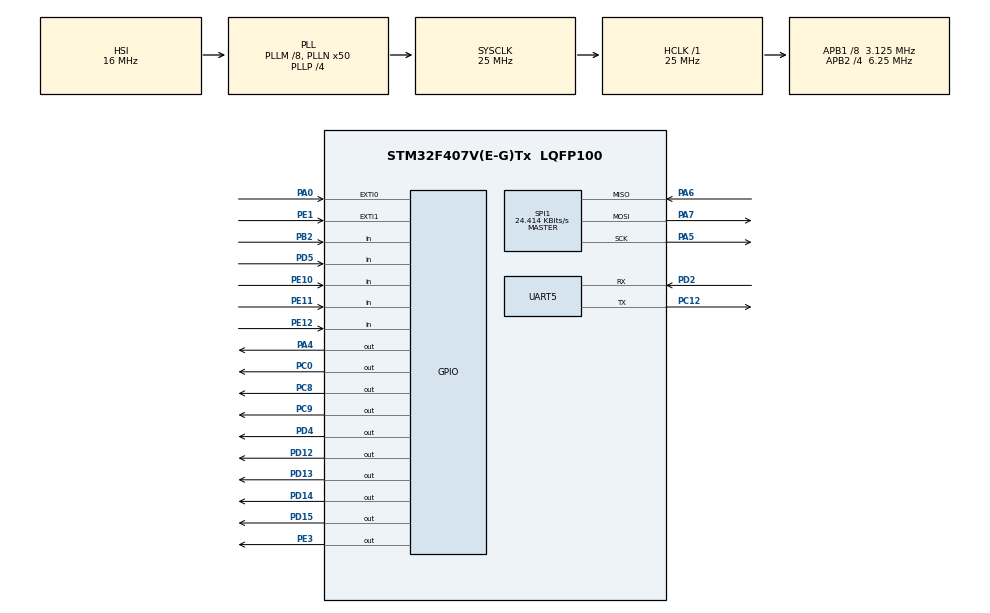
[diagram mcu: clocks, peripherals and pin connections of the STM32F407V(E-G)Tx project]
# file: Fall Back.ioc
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Mcu.Family=STM32F4
Mcu.Name=STM32F407V(E-G)Tx
Mcu.Package=LQFP100
NVIC.PriorityGroup=NVIC_PRIORITYGROUP_0
NVIC.TIM3_IRQn=true\:0\:0\:false\:false\:true\:true
PA0-WKUP.GPIO_ModeDefaultEXTI=GPIO_MODE_IT_RISING
PA0-WKUP.GPIO_PuPd=GPIO_NOPULL
PA0-WKUP.Signal=GPXTI0
PA10.GPIO_Mode=GPIO_MODE_AF_PP
PA10.GPIO_PuPd=GPIO_NOPULL
PA10.GPIO_Speed=GPIO_SPEED_FREQ_VERY_HIGH
PA10.Signal=USB_OTG_FS_ID
PA11.GPIO_Mode=GPIO_MODE_AF_PP
PA11.GPIO_PuPd=GPIO_NOPULL
PA11.GPIO_Speed=GPIO_SPEED_FREQ_VERY_HIGH
PA11.Signal=USB_OTG_FS_DM
PA12.GPIO_Mode=GPIO_MODE_AF_PP
PA12.GPIO_PuPd=GPIO_NOPULL
PA12.GPIO_Speed=GPIO_SPEED_FREQ_VERY_HIGH
PA12.Signal=USB_OTG_FS_DP
PA13.Signal=SYS_JTMS-SWDIO
PA14.Signal=SYS_JTCK-SWCLK
PA4.GPIO_Speed=GPIO_SPEED_FREQ_HIGH
PA4.Signal=GPIO_Output
PA5.GPIO_Mode=GPIO_MODE_AF_PP
PA5.GPIO_PuPd=GPIO_NOPULL
PA5.GPIO_Speed=GPIO_SPEED_FREQ_HIGH
PA5.Mode=Full_Duplex_Master
PA5.Signal=SPI1_SCK
PA6.GPIO_Mode=GPIO_MODE_AF_PP
PA6.GPIO_PuPd=GPIO_NOPULL
PA6.GPIO_Speed=GPIO_SPEED_FREQ_HIGH
PA6.Mode=Full_Duplex_Master
PA6.Signal=SPI1_MISO
PA7.GPIO_Mode=GPIO_MODE_AF_PP
PA7.GPIO_PuPd=GPIO_NOPULL
PA7.GPIO_Speed=GPIO_SPEED_FREQ_HIGH
PA7.Mode=Full_Duplex_Master
PA7.Signal=SPI1_MOSI
PA9.GPIO_Mode=GPIO_MODE_INPUT
PA9.GPIO_PuPd=GPIO_NOPULL
PA9.Signal=USB_OTG_FS_VBUS
PB10.GPIO_Mode=GPIO_MODE_AF_PP
PB10.GPIO_PuPd=GPIO_NOPULL
PB10.GPIO_Speed=GPIO_SPEED_FREQ_LOW
PB10.Signal=I2S2_CK
PB2.GPIO_Mode=GPIO_MODE_INPUT
PB2.GPIO_PuPd=GPIO_NOPULL
PB2.Signal=GPIO_Input
PB3.Signal=SYS_JTDO-SWO
PC0.GPIO_ModeDefaultOutputPP=GPIO_MODE_OUTPUT_PP
PC0.GPIO_PuPd=GPIO_NOPULL
PC0.GPIO_Speed=GPIO_SPEED_FREQ_LOW
PC0.PinState=GPIO_PIN_RESET
PC0.Signal=GPIO_Output
PC10.GPIO_Mode=GPIO_MODE_AF_PP
PC10.GPIO_PuPd=GPIO_NOPULL
PC10.GPIO_Speed=GPIO_SPEED_FREQ_LOW
PC10.Signal=I2S3_CK
PC12.Mode=Asynchronous
PC12.Signal=UART5_TX
PC14-OSC32_IN.Signal=RCC_OSC32_IN
PC15-OSC32_OUT.Signal=RCC_OSC32_OUT
PC3.GPIO_Mode=GPIO_MODE_AF_PP
PC3.GPIO_PuPd=GPIO_NOPULL
PC3.GPIO_Speed=GPIO_SPEED_FREQ_LOW
PC3.Signal=I2S2_SD
PC7.GPIO_Mode=GPIO_MODE_AF_PP
PC7.GPIO_PuPd=GPIO_NOPULL
PC7.GPIO_Speed=GPIO_SPEED_FREQ_LOW
PC7.Signal=I2S3_MCK
PC8.GPIO_Speed=GPIO_SPEED_FREQ_VERY_HIGH
PC8.Signal=GPIO_Output
PC9.GPIO_Speed=GPIO_SPEED_FREQ_VERY_HIGH
PC9.Signal=GPIO_Output
PD12.Signal=GPIO_Output
PD13.GPIO_ModeDefaultOutputPP=GPIO_MODE_OUTPUT_PP
PD13.GPIO_PuPd=GPIO_NOPULL
PD13.GPIO_Speed=GPIO_SPEED_FREQ_LOW
PD13.PinState=GPIO_PIN_RESET
PD13.Signal=GPIO_Output
PD14.GPIO_ModeDefaultOutputPP=GPIO_MODE_OUTPUT_PP
PD14.GPIO_PuPd=GPIO_NOPULL
PD14.GPIO_Speed=GPIO_SPEED_FREQ_LOW
PD14.PinState=GPIO_PIN_RESET
PD14.Signal=GPIO_Output
PD15.GPIO_ModeDefaultOutputPP=GPIO_MODE_OUTPUT_PP
PD15.GPIO_PuPd=GPIO_NOPULL
PD15.GPIO_Speed=GPIO_SPEED_FREQ_LOW
PD15.PinState=GPIO_PIN_RESET
PD15.Signal=GPIO_Output
PD2.Mode=Asynchronous
PD2.Signal=UART5_RX
PD4.GPIO_ModeDefaultOutputPP=GPIO_MODE_OUTPUT_PP
PD4.GPIO_PuPd=GPIO_NOPULL
PD4.GPIO_Speed=GPIO_SPEED_FREQ_LOW
PD4.PinState=GPIO_PIN_RESET
PD4.Signal=GPIO_Output
PD5.GPIO_Mode=GPIO_MODE_INPUT
PD5.GPIO_PuPd=GPIO_NOPULL
PD5.Signal=GPIO_Input
PE1.GPIO_ModeDefaultEXTI=GPIO_MODE_IT_RISING
PE1.GPIO_PuPd=GPIO_NOPULL
PE1.Signal=GPXTI1
PE10.Signal=GPIO_Input
PE11.Signal=GPIO_Input
PE12.Signal=GPIO_Input
PE3.GPIO_ModeDefaultOutputPP=GPIO_MODE_OUTPUT_PP
PE3.GPIO_PuPd=GPIO_NOPULL
PE3.GPIO_Speed=GPIO_SPEED_FREQ_LOW
PE3.PinState=GPIO_PIN_RESET
PE3.Signal=GPIO_Output
PH0-OSC_IN.Signal=RCC_OSC_IN
PH1-OSC_OUT.Signal=RCC_OSC_OUT
ProjectManager.HeapSize=0x200
ProjectManager.StackSize=0x400
ProjectManager.TargetToolchain=TrueSTUDIO
RCC.48MHZClocksFreq_Value=14285714.285714285
RCC.AHBFreq_Value=25000000
RCC.APB1CLKDivider=RCC_HCLK_DIV8
RCC.APB1Freq_Value=3125000
RCC.APB1TimFreq_Value=6250000
RCC.APB2CLKDivider=RCC_HCLK_DIV4
RCC.APB2Freq_Value=6250000
RCC.APB2TimFreq_Value=12500000
RCC.CortexFreq_Value=25000000
RCC.HCLKFreq_Value=25000000
RCC.HSE_VALUE=8000000
RCC.HSI_VALUE=16000000
RCC.LSE_VALUE=32768
RCC.PLLM=8
RCC.PLLN=50
RCC.PLLP=RCC_PLLP_DIV4
RCC.PLLQ=7
RCC.SYSCLKFreq_VALUE=25000000
RCC.SYSCLKSource=RCC_SYSCLKSOURCE_PLLCLK
RCC.VCOOutputFreq_Value=100000000
SPI1.BaudRatePrescaler=SPI_BAUDRATEPRESCALER_256
SPI1.CLKPhase=SPI_PHASE_1EDGE
SPI1.CLKPolarity=SPI_POLARITY_LOW
SPI1.CalculateBaudRate=24.414 KBits/s
SPI1.DataSize=SPI_DATASIZE_8BIT
SPI1.Direction=SPI_DIRECTION_2LINES
SPI1.Mode=SPI_MODE_MASTER
SPI1.VirtualType=VM_MASTER
TIM3.Period=10-1
TIM3.Prescaler=625-1
UART5.VirtualMode=Asynchronous
VP_TIM3_VS_ClockSourceINT.Mode=Internal
board=STM32F4DISCOVERY

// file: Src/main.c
/* USER CODE BEGIN Header */
/**
  ******************************************************************************
  * @file           : main.c
  * @brief          : Main program body
  ******************************************************************************
  ** This notice applies to any and all portions of this file
  * that are not between comment pairs USER CODE BEGIN and
  * USER CODE END. Other portions of this file, whether
  * inserted by the user or by software development tools
  * are owned by their respective copyright owners.
  *
  * COPYRIGHT(c) 2020 STMicroelectronics
  *
  * Redistribution and use in source and binary forms, with or without modification,
  * are permitted provided that the following conditions are met:
  *   1. Redistributions of source code must retain the above copyright notice,
  *      this list of conditions and the following disclaimer.
  *   2. Redistributions in binary form must reproduce the above copyright notice,
  *      this list of conditions and the following disclaimer in the documentation
  *      and/or other materials provided with the distribution.
  *   3. Neither the name of STMicroelectronics nor the names of its contributors
  *      may be used to endorse or promote products derived from this software
  *      without specific prior written permission.
  *
  * THIS SOFTWARE IS PROVIDED BY THE COPYRIGHT HOLDERS AND CONTRIBUTORS "AS IS"
  * AND ANY EXPRESS OR IMPLIED WARRANTIES, INCLUDING, BUT NOT LIMITED TO, THE
  * IMPLIED WARRANTIES OF MERCHANTABILITY AND FITNESS FOR A PARTICULAR PURPOSE ARE
  * DISCLAIMED. IN NO EVENT SHALL THE COPYRIGHT HOLDER OR CONTRIBUTORS BE LIABLE
  * FOR ANY DIRECT, INDIRECT, INCIDENTAL, SPECIAL, EXEMPLARY, OR CONSEQUENTIAL
  * DAMAGES (INCLUDING, BUT NOT LIMITED TO, PROCUREMENT OF SUBSTITUTE GOODS OR
  * SERVICES; LOSS OF USE, DATA, OR PROFITS; OR BUSINESS INTERRUPTION) HOWEVER
  * CAUSED AND ON ANY THEORY OF LIABILITY, WHETHER IN CONTRACT, STRICT LIABILITY,
  * OR TORT (INCLUDING NEGLIGENCE OR OTHERWISE) ARISING IN ANY WAY OUT OF THE USE
  * OF THIS SOFTWARE, EVEN IF ADVISED OF THE POSSIBILITY OF SUCH DAMAGE.
  *
  ******************************************************************************
  */
/* USER CODE END Header */

#include "main.h"

/* USER CODE BEGIN Includes */
#include "mfrc522.h"
#include "cfah2004.h"
/* USER CODE END Includes */

/* USER CODE BEGIN PD */
#define LED_GREEN	0x0
#define LED_RED 	0x1
#define LED_BLUE 	0x2
#define LED_ORANGE 	0x3
/* USER CODE END PD */

/* USER CODE BEGIN PM */
#define CLR_RS HAL_GPIO_WritePin(GPIOC, GPIO_PIN_8, GPIO_PIN_RESET);
#define SET_RS HAL_GPIO_WritePin(GPIOC, GPIO_PIN_8, GPIO_PIN_SET);
#define CLR_CS HAL_GPIO_WritePin(GPIOC, GPIO_PIN_9, GPIO_PIN_RESET);
#define SET_CS HAL_GPIO_WritePin(GPIOC, GPIO_PIN_9, GPIO_PIN_SET);
/* USER CODE END PM */

SPI_HandleTypeDef hspi1;

TIM_HandleTypeDef htim3;

UART_HandleTypeDef huart5;

/* USER CODE BEGIN PV */
enum game_state{reset, start, set_score, scan, place_row, place_col, confirm, board_check, end, state_error, display_msg, game_end};
enum button{up, down, enter};
enum board_status{init, valid, invalid, error};
enum tile_type{norm, dl, tl, dw, tw};
enum reason_end{too_many_passes, over_score_limit};
uint8_t CardID[5];
int count = 0;
uint8_t MSG1[20] = "                    ";
uint8_t player_scores[4] = {0};
uint8_t reset_board[83] = "---------------------------------------------------------------------------------\r\n";
uint8_t curr_board[83] = "000000000000000000000000000000000000000000000000000000000000000000000000000000000\r\n";
uint8_t prev_board[83] = "000000000000000000000000000000000000000000000000000000000000000000000000000000000\r\n";
char string_1[20];
char string_2[20];
char string_3[20];
char string_4[20];
uint8_t in;
uint8_t check = init;

struct letter_info{
	char letter;
	uint8_t row;
	uint8_t col;
};
/* USER CODE END PV */

void SystemClock_Config(void);
static void MX_GPIO_Init(void);
static void MX_SPI1_Init(void);
static void MX_TIM3_Init(void);
static void MX_UART5_Init(void);
/* USER CODE BEGIN PFP */
void LED_On(uint8_t);
void LED_Off(uint8_t);
void LED_Toggle(uint8_t);
uint8_t check_but(uint8_t);
char decode_ID(uint8_t ID[5]);
uint8_t get_score(char letter);
uint8_t get_tile(uint8_t row, uint8_t col);
int get_best_players(uint8_t num_players);
/* USER CODE END PFP */

/* USER CODE BEGIN 0 */

void display_two_lines(char string_1[20], char string_2[20]){
	  writeCommand(0x1);
	  HAL_Delay(1);
	  writeCommand(LINE_TWO);
	  writeString(20, string_1);
	  writeCommand(LINE_THREE);
	  writeString(20, string_2);
}

void display_four_lines(char string_1[20], char string_2[20], char string_3[20], char string_4[20]){
	  writeCommand(0x1);
	  HAL_Delay(10);
	  writeString(20, string_1);
	  writeCommand(LINE_TWO);
	  writeString(20, string_2);
	  writeCommand(LINE_THREE);
	  writeString(20, string_3);
	  writeCommand(LINE_FOUR);
	  writeString(20, string_4);

}

void display_game_end(uint8_t num_players, uint8_t reason){
	int best_players = get_best_players(num_players);
	sprintf(string_1, " P1: %03d    P2: %03d ", player_scores[0], player_scores[1]);
	sprintf(string_4, " P3: %03d    P4: %03d ", player_scores[2], player_scores[3]);
	//4 way tie
	if((best_players >> 24) != 0){
		sprintf(string_2, "How'd everyone win??");
	}
	//3 way tie
	else if((best_players >> 16) != 0){
		sprintf(string_2, "Players: %d %d %d tied ", (best_players >> 16) & 0xff, (best_players >> 8) & 0xff, (best_players) & 0xff);
	}
	//2 way tie
	else if((best_players) >> 8 != 0){
		sprintf(string_2, "Players: %d %d tied   ", (best_players >> 8) & 0xff, (best_players) & 0xff);
	}
	else{
		sprintf(string_2, "   Player %d: Won!   ", best_players);
	}

	if(reason == too_many_passes){
		sprintf(string_3, "there were 6 passes ");
	}
	else if(reason == over_score_limit){
		sprintf(string_3, "  beat score limit  ");
	}
	display_four_lines(string_1, string_2, string_3, string_4);
}
uint8_t check_but(uint8_t option){
	if(option == up && HAL_GPIO_ReadPin(GPIOE, GPIO_PIN_11) == 0){
		return 1;
	}
	if(option == down && HAL_GPIO_ReadPin(GPIOE, GPIO_PIN_10) == 0){
		return 1;
	}
	if(option == enter && HAL_GPIO_ReadPin(GPIOE, GPIO_PIN_12) == 0){
		return 1;
	}
	return 0;
}

int verify_placed_word(struct letter_info placed_word[9], int word_len){
	check = init;
	for(int i = 0; i < 83; i++){
		prev_board[i] = curr_board[i];
	}

	for(int i = 0; i < word_len; i++){
		curr_board[(placed_word[i].row - 1) * 9 + (placed_word[i].col - 1)] = placed_word[i].letter;
	}

	HAL_UART_Transmit(&huart5, curr_board, 83, 1000);
	HAL_UART_Receive_IT(&huart5, &in, 1);

	while(1){
		if(check != init){
			break;
		}
		sprintf(string_1, "   Verifying the    ");
		sprintf(string_2, "   current board    ");
		display_two_lines(string_1, string_2);
		HAL_Delay(100);
	}

	if(check == invalid || check == error){
		for(int i = 0; i < 83; i++){
			curr_board[i] = prev_board[i];
		}
	}
	HAL_UART_Receive_IT(&huart5, &in, 1);

	return check;
}

uint8_t update_scores(struct letter_info placed_word[9], int word_len){
	uint8_t num_formed = 0;
	int total_score = 0;
	uint8_t curr_tile;
	uint8_t flag = 0;
	int j = 0;

	for(int i = 0; i < word_len; i++) {
		int curr_score = 0;
		uint8_t sel_row_1 = placed_word[i].row - 1;
		uint8_t sel_row_2 = placed_word[i].row - 1;
		uint8_t sel_col_1 = placed_word[i].col - 1;
		uint8_t sel_col_2 = placed_word[i].col - 1;
		uint8_t num_dw = 0;
		uint8_t num_tw = 0;

		//check up
		while(sel_row_1 >= 0 && curr_board[sel_row_1 * 9 + sel_col_1] != '0'){
			for(j = (i - 1); j >= 0; j--){
				if((placed_word[j].row - 1) == sel_row_1 && (placed_word[j].col - 1) == sel_col_1){
					flag = 1;
					break;
				}
			}
			if(flag == 1){
				break;
			}
			if(sel_row_1 == 0){
				break;
			}
			sel_row_1--;
		}
		if(curr_board[sel_row_1 * 9 + sel_col_1] == '0'){
			sel_row_1++;
		}

		//check down
		while(sel_row_2 <= 8 && curr_board[sel_row_2 * 9 + sel_col_1] != '0'){
			for(j = (i-1); j >= 0; j--){
				if((placed_word[j].row - 1) == sel_row_2 && (placed_word[j].col - 1) == sel_col_1){
					flag = 1;
					break;
				}
			}
			if(flag == 1){
				break;
			}
			if(sel_row_2 == 8){
				break;
			}
			sel_row_2++;
		}
		if(curr_board[sel_row_2 * 9 + sel_col_1] == '0'){
			sel_row_2--;
		}
		//check horz score
		if(sel_row_1 == sel_row_2){
			flag = 1;
		}

		if(flag == 0){
			for(j = sel_row_1; j <= sel_row_2; j++){
				if(prev_board[j * 9 + sel_col_1] == '0'){
					curr_tile = get_tile(j, sel_col_1);
					if(curr_tile == dl){
						curr_score += 2 * get_score(curr_board[j * 9 + sel_col_1]);
					}
					else if(curr_tile == tl){
						curr_score += 3 * get_score(curr_board[j * 9 + sel_col_1]);
					}
					else if(curr_tile == dw){
						curr_score += get_score(curr_board[j * 9 + sel_col_1]);
						num_dw++;
					}
					else if(curr_tile == tw){
						curr_score += get_score(curr_board[j * 9 + sel_col_1]);
						num_tw++;
					}
					else{
						curr_score += get_score(curr_board[j * 9 + sel_col_1]);
					}
				}
				else{
					curr_score += get_score(curr_board[j * 9 + sel_col_1]);
				}
			}

			if(num_dw){
				curr_score = curr_score * (2 * num_dw);
			}
			if(num_tw){
				curr_score = curr_score * (3 * num_tw);
			}
			total_score += curr_score;
			num_formed++;
		}

		flag = 0;
		curr_score = 0;
		sel_row_1 = placed_word[i].row - 1;
		sel_row_2 = placed_word[i].row - 1;
		sel_col_1 = placed_word[i].col - 1;
		sel_col_2 = placed_word[i].col - 1;
		num_dw = 0;
		num_tw = 0;

		//check left
		while(sel_col_1 >= 0 && curr_board[sel_row_1 * 9 + sel_col_1] != '0'){
			for(j = (i-1); j >= 0; j--){
				if((placed_word[j].row - 1) == sel_row_1 && (placed_word[j].col - 1) == sel_col_1){
					flag = 1;
					break;
				}
			}
			if(flag == 1){
				break;
			}
			if(sel_col_1 == 0){
				break;
			}
			sel_col_1--;
		}
		if(curr_board[sel_row_1 * 9 + sel_col_1] == '0'){
			sel_col_1++;
		}

		//check right
		while(sel_col_2 <= 8 && curr_board[sel_row_2 * 9 + sel_col_2] != '0'){
			for(j = (i-1); j >= 0; j--){
				if((placed_word[j].row - 1) == sel_row_2 && (placed_word[j].col - 1) == sel_col_2){
					flag = 1;
					break;
				}
			}
			if(flag == 1){
				break;
			}
			if (sel_col_2 == 8){
				break;
			}
			sel_col_2++;
		}
		if(curr_board[sel_row_2 * 9 + sel_col_2] == '0'){
			sel_col_2--;
		}

		//check vert score
		if(sel_col_1 == sel_col_2){
			flag = 1;
		}

		if(flag == 0){
			for(j = sel_col_1; j <= sel_col_2; j++){
				if(prev_board[sel_row_1 * 9 + j] == '0'){
					curr_tile = get_tile(sel_row_1, j);
					if(curr_tile == dl){
						curr_score += 2 * get_score(curr_board[sel_row_1 * 9 + j]);
					}
					else if(curr_tile == tl){
						curr_score += 3 * get_score(curr_board[sel_row_1 * 9 + j]);
					}
					else if(curr_tile == dw){
						curr_score += get_score(curr_board[sel_row_1 * 9 + j]);
						num_dw++;
					}
					else if(curr_tile == tw){
						curr_score += get_score(curr_board[sel_row_1 * 9 + j]);
						num_tw++;
					}
					else{
						curr_score += get_score(curr_board[sel_row_1 * 9 + j]);
					}
				}
				else{
					curr_score += get_score(curr_board[sel_row_1 * 9 + j]);
				}
			}

			if(num_dw > 0){
				curr_score = curr_score * (2 * num_dw);
			}
			if(num_tw > 0){
				curr_score = curr_score * (3 * num_tw);
			}
			total_score += curr_score;

			num_formed++;
		}
	}

	if(word_len >= 7){
		total_score += 50;
	}
	return total_score;
}

uint8_t get_score(char letter){
	switch(letter){
		case 'A':
			return 1;
		case 'B':
			return 3;
		case 'C':
			return 3;
		case 'D':
			return 2;
		case 'E':
			return 1;
		case 'F':
			return 4;
		case 'G':
			return 2;
		case 'H':
			return 4;
		case 'I':
			return 1;
		case 'J':
			return 8;
		case 'K':
			return 5;
		case 'L':
			return 1;
		case 'M':
			return 3;
		case 'N':
			return 1;
		case 'O':
			return 1;
		case 'P':
			return 3;
		case 'Q':
			return 10;
		case 'R':
			return 1;
		case 'S':
			return 1;
		case 'T':
			return 1;
		case 'U':
			return 1;
		case 'V':
			return 4;
		case 'W':
			return 4;
		case 'X':
			return 8;
		case 'Y':
			return 4;
		case 'Z':
			return 10;
		default:
			return 0;
	}
}

uint8_t get_tile(uint8_t row, uint8_t col){
	if((row == 4 && col == 0) || (row == 0 && col == 4) || (row == 8 && col == 4) || (row == 4 && col == 8) || (row == 3 && col == 3) || (row == 3 && col == 5) || (row == 5 && col == 3) || (row == 5 && col == 5)){
		return dl;
	}
	if((row == 2 && col == 2) || (row == 6 && col == 2) || (row == 2 && col == 6) || (row == 6 && col == 6)){
		return tl;
	}
	if((row == 4 && col == 4) || (row == 1 && col == 1) || (row == 1 && col == 7) || (row == 7 && col == 1) || (row == 7 && col == 7)){
		return dw;
	}
	if((row == 0 && col == 0) || (row == 0 && col == 8) || (row == 8 && col == 0) || (row == 8 && col == 8)){
		return tw;
	}

	return norm;
}
char decode_ID(uint8_t ID[5]){
	int snippet = ID[2] << 16 | ID[3] << 8 | ID[4];
	switch(snippet){
		case 0x52954b:
		case 0x24953d:
		case 0x109509:
		case 0xd495cd:
		case 0xab95b2:
		case 0x34952d:
		case 0x16950f:
		case 0x84959d:
		case 0x389521:
			return 'A';
		case 0xef95f6:
		case 0xd595cc:
			return 'B';
		case 0x53954a:
		case 0x74956d:
			return 'C';
		case 0x221fb1:
		case 0x051f96:
		case 0x0f1f9c:
		case 0x041f97:
			return 'D';
		case 0x67967d:
		case 0x231fb0:
		case 0x7d9667:
		case 0x609579:
		case 0x119508:
		case 0x26953f:
		case 0x4d9554:
		case 0x02951b:
		case 0x191f8a:
		case 0x489551:
		case 0x5b9542:
			return 'E';
		case 0x67957e:
		case 0x7b9562:
			return 'F';
		case 0xd11f42:
		case 0xbe1f2d:
		case 0xb31f20:
			return 'G';
		case 0xbd1f2e:
		case 0xa01f33:
			return 'H';
		case 0x4e9557:
		case 0x6f9576:
		case 0x5c9545:
		case 0x25953c:
		case 0x3f9526:
		case 0x4c9555:
		case 0x3e9527:
		case 0x3a9523:
		case 0x03951a:
			return 'I';
		case 0x909589:
			return 'J';
		case 0x85969f:
			return 'K';
		case 0xfd95e4:
		case 0xe995f0:
		case 0xdb95c2:
		case 0xc695df:
			return 'L';
		case 0x399520:
		case 0x919588:
			return 'M';
		case 0xee95f7:
		case 0xc795de:
		case 0xe895f1:
		case 0xfc95e5:
		case 0xda95c3:
		case 0xac95b5:
			return 'N';
		case 0x709569:
		case 0x181f8b:
		case 0x2b9532:
		case 0x83959a:
		case 0x17950e:
		case 0x2a9533:
		case 0x619578:
		case 0x62957b:
			return 'O';
		case 0x7c9565:
		case 0x86969c:
			return 'P';
		case 0x8a9593:
			return 'Q';
		case 0x97958e:
		case 0x76956f:
		case 0x6d9677:
		case 0x7c9666:
		case 0x989581:
		case 0x6e9674:
			return 'R';
		case 0x0e1f9d:
		case 0xf01f63:
		case 0xf11f62:
		case 0xfb1f68:
			return 'S';
		case 0x9d9584:
		case 0xb295ab:
		case 0xb395aa:
		case 0xc195d8:
		case 0xc095d9:
		case 0x9e9587:
			return 'T';
		case 0xfa1f69:
		case 0xe71f74:
		case 0xdb1f48:
		case 0xdc1f4f:
			return 'U';
		case 0xc71f54:
		case 0xd21f41:
			return 'V';
		case 0x75956c:
		case 0x66957f:
			return 'W';
		case 0x599643:
			return 'X';
		case 0xc81f5b:
		case 0xe61f75:
			return 'Y';
		case 0x899590:
			return 'Z';
		default:
			return '\0';
	}
}

void HAL_UART_RxCpltCallback(UART_HandleTypeDef *huart)
{
	/* Transmit one byte with 100 ms timeout */
	if(in == '1'){
		check = valid;
	}
	else if(in == '0'){
		check = invalid;
	}
	else{
		check = error;
	}

	/* Receive one byte in interrupt mode */
}

int get_best_players(uint8_t num_players){
	int best_players = 0;
	uint8_t max_score = 0;

	for(int i = 0; i < num_players; i++){
		if(player_scores[i] > max_score){
			max_score = player_scores[i];
		}
	}

	for(int i = 0; i < num_players; i++){
		if(player_scores[i] == max_score){
			best_players = best_players << 8 | (i + 1);
		}
	}

	return best_players;
}
/* USER CODE END 0 */

int main(void)
{

  /* MCU Configuration--------------------------------------------------------*/

  /* Reset of all peripherals, Initializes the Flash interface and the Systick. */
  HAL_Init();

  /* Configure the system clock */
  SystemClock_Config();

  /* Initialize all configured peripherals */
  MX_GPIO_Init();
  MX_SPI1_Init();
  MX_TIM3_Init();
  MX_UART5_Init();
  /* USER CODE BEGIN 2 */
  nss_inactive();
  CLR_RS;
  SET_CS;

  MFRC522_Init();
  Initialize_CFAH2004AP();
  Initialize_CGRAM();

  uint8_t curr_state = reset;
  uint8_t num_players;
  uint8_t curr_player;
  uint8_t row;
  uint8_t col;
  char letter;
  char board_letter;
  struct letter_info placed_word[9] = {0};
  uint8_t word_len;
  uint8_t check_flag;
  int score_gain;
  uint8_t num_cons_passes;
  uint8_t pass_flag;
  int score_limit;

  /* USER CODE END 2 */

  /* Infinite loop */
  while (1)
  {

    /* USER CODE BEGIN 3 */
	  if(curr_state == reset){
		  num_players = 2;
		  curr_player = 1;
		  row = 1;
		  col = 1;
		  letter = '\0';
		  board_letter = '\0';
		  word_len = 0;
		  score_gain = 0;
		  num_cons_passes = 0;
		  pass_flag = 0;
		  check = init;
		  score_limit = 0;

		  for(int i = 0; i < 4; i++){
			  player_scores[i] = 0;
		  }

		  for(int i = 0; i < 81; i++){
			  curr_board[i] = '0';
			  prev_board[i] = '0';
		  }

			for(int i = 0; i < 9; i++){
				placed_word[i].letter = 0;
				placed_word[i].row = 0;
				placed_word[i].col = 0;
			}

		  HAL_Delay(1);
		  HAL_UART_Transmit(&huart5, reset_board, 83, 1000);
		  HAL_UART_Receive_IT(&huart5, &in, 1);

			sprintf(string_1, "  Setting up Wi-Fi  ");
			sprintf(string_2, "Connection, plz wait");
			display_two_lines(string_1, string_2);

		  while(1){
			if(check != init){
			  break;
			}
			HAL_Delay(100);
		  }

		  if(check != valid){
			  curr_state = state_error;
		  }
		  HAL_UART_Receive_IT(&huart5, &in, 1);

		  curr_state = start;
	  }
	  else if(curr_state == start){
		if(check_but(up) && num_players < 4){
			num_players++;
		}
		else if(check_but(down) && num_players > 2){
			num_players--;
		}
		else if(check_but(enter)){
			curr_state = set_score;
			HAL_Delay(200);
		}
		sprintf(string_1, "  select number of  ");
		sprintf(string_2, "  players: %d        ", num_players);
		display_two_lines(string_1, string_2);

		HAL_Delay(100);
	  }
	  else if(curr_state == set_score){
			if(check_but(up) && score_limit < 1000){
				score_limit += 100;
			}
			else if(check_but(down) && score_limit > 0){
				score_limit -= 100;
			}
			else if(check_but(enter)){
				curr_state = scan;
				HAL_Delay(200);
			}
			sprintf(string_1, " select this game's ");
			if(score_limit == 0){
				sprintf(string_2, " score limit: none  ", score_limit);
			}
			else{
				sprintf(string_2, " score limit: %04d  ", score_limit);
			}
			display_two_lines(string_1, string_2);

			HAL_Delay(100);
	  }
	else if(curr_state == scan){
		sprintf(string_1, "  Player %d: please  ", curr_player);
		sprintf(string_2, "  scan a letter or  ");
		sprintf(string_3, "  press enter to    ");
		sprintf(string_4, "  pass your turn    ");
		display_four_lines(string_1, string_2, string_3, string_4);
		MFRC522_Status_t status = MFRC522_Check(CardID);
		while(status != MI_OK){
			if(check_but(enter)){
				pass_flag = 1;
				break;
			}
			status = MFRC522_Check(CardID);
		}
		if(pass_flag == 1){
			curr_player = (curr_player % num_players) + 1;
			for(int i = 0; i < 9; i++){
				placed_word[i].letter = 0;
				placed_word[i].row = 0;
				placed_word[i].col = 0;
			}
			word_len = 0;
			num_cons_passes++;
			if(num_cons_passes >= 6){
				curr_state = game_end;
				display_game_end(num_players, too_many_passes);
				HAL_Delay(500);
			}
			HAL_Delay(200);
			pass_flag = 0;
		}
		else{
			board_letter = decode_ID(CardID);
			curr_state = place_row;
			HAL_Delay(200);
			row = 1;
			col = 1;
			num_cons_passes = 0;
		}
	}
	else if(curr_state == place_row){
		if(check_but(up) && row < 9){
			row++;
		}
		else if(check_but(down) && row > 1){
			row--;
		}
		else if(check_but(enter)){
			curr_state = place_col;
			HAL_Delay(200);
		}
		sprintf(string_1, "Letter %c: select row", board_letter);
		sprintf(string_2, "row: %d, col:%d       ", row, col);
		display_two_lines(string_1, string_2);
		HAL_Delay(50);
	}
	else if(curr_state == place_col){
		if(check_but(up) && col < 9){
			col++;
		}
		else if(check_but(down) && col > 1){
			col--;
		}
		else if(check_but(enter)){
			letter = 'N';
			placed_word[word_len].row = row;
			placed_word[word_len].col = col;
			placed_word[word_len++].letter = board_letter;
			curr_state = confirm;
			HAL_Delay(200);
		}
		sprintf(string_1, "Letter %c: select col", board_letter);
		sprintf(string_2, "row: %d, col:%d       ", row, col);
		display_two_lines(string_1, string_2);
		HAL_Delay(50);
	}
	else if(curr_state == confirm){
		if(check_but(up)){
			letter = 'Y';
		}
		else if(check_but(down) && row > 1){
			letter = 'N';
		}
		else if(check_but(enter)){
			if(letter == 'Y'){
				curr_state = board_check;
				HAL_Delay(200);
			}
			else{
				curr_state = scan;
				HAL_Delay(200);
			}
		}
		sprintf(string_1, "  Player %d: are     ", curr_player);
		sprintf(string_2, "  you done Y/N?  %c   ", letter);
		display_two_lines(string_1, string_2);
		HAL_Delay(50);
	}

	else if(curr_state == board_check){
		sprintf(string_1, " Verifying %d tiles  ", word_len);
		sprintf(string_2, "   %c %c %c %c %c %c %c %c %c", placed_word[0].letter, placed_word[1].letter, placed_word[2].letter, placed_word[3].letter, placed_word[4].letter, placed_word[5].letter, placed_word[6].letter, placed_word[7].letter, placed_word[8].letter);
		sprintf(string_3, "r: %d %d %d %d %d %d %d %d %d", placed_word[0].row, placed_word[1].row, placed_word[2].row, placed_word[3].row, placed_word[4].row, placed_word[5].row, placed_word[6].row, placed_word[7].row, placed_word[8].row);
		sprintf(string_4, "c: %d %d %d %d %d %d %d %d %d", placed_word[0].col, placed_word[1].col, placed_word[2].col, placed_word[3].col, placed_word[4].col, placed_word[5].col, placed_word[6].col, placed_word[7].col, placed_word[8].col);
		display_four_lines(string_1, string_2, string_3, string_4);
		HAL_Delay(2000);
		check_flag = verify_placed_word(placed_word, word_len);
		curr_state = display_msg;
	}
	else if(curr_state == display_msg){
		if(check_flag == valid){
			score_gain = update_scores(placed_word, word_len);
			player_scores[curr_player - 1] += score_gain;
			sprintf(string_1, " Player %d gains %03d ", curr_player, score_gain);
			sprintf(string_2, " for %03d total pts  ", player_scores[curr_player - 1]);
			if(player_scores[curr_player - 1] >= score_limit && score_limit != 0){
				curr_state = game_end;
			}
			else{
				curr_player = (curr_player % num_players) + 1;
				curr_state = scan;
			}

		}
		else if(check_flag == invalid){
			sprintf(string_1, "This move is invalid");
			sprintf(string_2, "  Please try again  ");
			curr_state = scan;
		}
		else{
			sprintf(string_1, " There was an error ");
			sprintf(string_2, " in Wi-Fi connection");
			curr_state = state_error;
		}

		for(int i = 0; i < 9; i++){
			placed_word[i].letter = 0;
			placed_word[i].row = 0;
			placed_word[i].col = 0;
		}
		word_len = 0;
		display_two_lines(string_1, string_2);
		HAL_Delay(2000);
		if(player_scores[curr_player - 1] >= score_limit && score_limit != 0){
			display_game_end(num_players, over_score_limit);
		}
	}
	else if(curr_state == state_error){
		sprintf(string_1, "  There's been an   ");
		sprintf(string_2, "  error oh no :(    ");
		display_two_lines(string_1, string_2);
		HAL_Delay(50);
	}
	else if(curr_state == game_end){
		if(check_but(enter)){
			curr_state = reset;

			HAL_Delay(200);
		}
		HAL_Delay(50);

	}
  }

  /* USER CODE END 3 */
}

void SystemClock_Config(void)
{
  RCC_OscInitTypeDef RCC_OscInitStruct = {0};
  RCC_ClkInitTypeDef RCC_ClkInitStruct = {0};

  /**Configure the main internal regulator output voltage
  */
  __HAL_RCC_PWR_CLK_ENABLE();
  __HAL_PWR_VOLTAGESCALING_CONFIG(PWR_REGULATOR_VOLTAGE_SCALE1);
  /**Initializes the CPU, AHB and APB busses clocks
  */
  RCC_OscInitStruct.OscillatorType = RCC_OSCILLATORTYPE_HSI;
  RCC_OscInitStruct.HSIState = RCC_HSI_ON;
  RCC_OscInitStruct.HSICalibrationValue = RCC_HSICALIBRATION_DEFAULT;
  RCC_OscInitStruct.PLL.PLLState = RCC_PLL_ON;
  RCC_OscInitStruct.PLL.PLLSource = RCC_PLLSOURCE_HSI;
  RCC_OscInitStruct.PLL.PLLM = 8;
  RCC_OscInitStruct.PLL.PLLN = 50;
  RCC_OscInitStruct.PLL.PLLP = RCC_PLLP_DIV4;
  RCC_OscInitStruct.PLL.PLLQ = 7;
  if (HAL_RCC_OscConfig(&RCC_OscInitStruct) != HAL_OK)
  {
    Error_Handler();
  }
  /**Initializes the CPU, AHB and APB busses clocks
  */
  RCC_ClkInitStruct.ClockType = RCC_CLOCKTYPE_HCLK|RCC_CLOCKTYPE_SYSCLK
                              |RCC_CLOCKTYPE_PCLK1|RCC_CLOCKTYPE_PCLK2;
  RCC_ClkInitStruct.SYSCLKSource = RCC_SYSCLKSOURCE_PLLCLK;
  RCC_ClkInitStruct.AHBCLKDivider = RCC_SYSCLK_DIV1;
  RCC_ClkInitStruct.APB1CLKDivider = RCC_HCLK_DIV8;
  RCC_ClkInitStruct.APB2CLKDivider = RCC_HCLK_DIV4;

  if (HAL_RCC_ClockConfig(&RCC_ClkInitStruct, FLASH_LATENCY_0) != HAL_OK)
  {
    Error_Handler();
  }
}

static void MX_SPI1_Init(void)
{

  /* SPI1 parameter configuration*/
  hspi1.Instance = SPI1;
  hspi1.Init.Mode = SPI_MODE_MASTER;
  hspi1.Init.Direction = SPI_DIRECTION_2LINES;
  hspi1.Init.DataSize = SPI_DATASIZE_8BIT;
  hspi1.Init.CLKPolarity = SPI_POLARITY_LOW;
  hspi1.Init.CLKPhase = SPI_PHASE_1EDGE;
  hspi1.Init.NSS = SPI_NSS_SOFT;
  hspi1.Init.BaudRatePrescaler = SPI_BAUDRATEPRESCALER_256;
  hspi1.Init.FirstBit = SPI_FIRSTBIT_MSB;
  hspi1.Init.TIMode = SPI_TIMODE_DISABLE;
  hspi1.Init.CRCCalculation = SPI_CRCCALCULATION_DISABLE;
  hspi1.Init.CRCPolynomial = 10;
  if (HAL_SPI_Init(&hspi1) != HAL_OK)
  {
    Error_Handler();
  }

}

static void MX_TIM3_Init(void)
{

  TIM_ClockConfigTypeDef sClockSourceConfig = {0};
  TIM_MasterConfigTypeDef sMasterConfig = {0};

  htim3.Instance = TIM3;
  htim3.Init.Prescaler = 625-1;
  htim3.Init.CounterMode = TIM_COUNTERMODE_UP;
  htim3.Init.Period = 10-1;
  htim3.Init.ClockDivision = TIM_CLOCKDIVISION_DIV1;
  if (HAL_TIM_Base_Init(&htim3) != HAL_OK)
  {
    Error_Handler();
  }
  sClockSourceConfig.ClockSource = TIM_CLOCKSOURCE_INTERNAL;
  if (HAL_TIM_ConfigClockSource(&htim3, &sClockSourceConfig) != HAL_OK)
  {
    Error_Handler();
  }
  sMasterConfig.MasterOutputTrigger = TIM_TRGO_RESET;
  sMasterConfig.MasterSlaveMode = TIM_MASTERSLAVEMODE_DISABLE;
  if (HAL_TIMEx_MasterConfigSynchronization(&htim3, &sMasterConfig) != HAL_OK)
  {
    Error_Handler();
  }

}

static void MX_UART5_Init(void)
{

  huart5.Instance = UART5;
  huart5.Init.BaudRate = 115200;
  huart5.Init.WordLength = UART_WORDLENGTH_8B;
  huart5.Init.StopBits = UART_STOPBITS_1;
  huart5.Init.Parity = UART_PARITY_NONE;
  huart5.Init.Mode = UART_MODE_TX_RX;
  huart5.Init.HwFlowCtl = UART_HWCONTROL_NONE;
  huart5.Init.OverSampling = UART_OVERSAMPLING_16;
  if (HAL_UART_Init(&huart5) != HAL_OK)
  {
    Error_Handler();
  }

}

static void MX_GPIO_Init(void)
{
  GPIO_InitTypeDef GPIO_InitStruct = {0};

  /* GPIO Ports Clock Enable */
  __HAL_RCC_GPIOE_CLK_ENABLE();
  __HAL_RCC_GPIOC_CLK_ENABLE();
  __HAL_RCC_GPIOH_CLK_ENABLE();
  __HAL_RCC_GPIOA_CLK_ENABLE();
  __HAL_RCC_GPIOB_CLK_ENABLE();
  __HAL_RCC_GPIOD_CLK_ENABLE();

  /*Configure GPIO pin Output Level */
  HAL_GPIO_WritePin(GPIOE, GPIO_PIN_3, GPIO_PIN_RESET);

  /*Configure GPIO pin Output Level */
  HAL_GPIO_WritePin(GPIOC, GPIO_PIN_0|GPIO_PIN_8|GPIO_PIN_9, GPIO_PIN_RESET);

  /*Configure GPIO pin Output Level */
  HAL_GPIO_WritePin(GPIOA, GPIO_PIN_4, GPIO_PIN_RESET);

  /*Configure GPIO pin Output Level */
  HAL_GPIO_WritePin(GPIOD, GPIO_PIN_4, GPIO_PIN_RESET);

  /*Configure GPIO pin : PE3 */
  GPIO_InitStruct.Pin = GPIO_PIN_3;
  GPIO_InitStruct.Mode = GPIO_MODE_OUTPUT_PP;
  GPIO_InitStruct.Pull = GPIO_NOPULL;
  GPIO_InitStruct.Speed = GPIO_SPEED_FREQ_LOW;
  HAL_GPIO_Init(GPIOE, &GPIO_InitStruct);

  /*Configure GPIO pin : PC0 */
  GPIO_InitStruct.Pin = GPIO_PIN_0;
  GPIO_InitStruct.Mode = GPIO_MODE_OUTPUT_PP;
  GPIO_InitStruct.Pull = GPIO_NOPULL;
  GPIO_InitStruct.Speed = GPIO_SPEED_FREQ_LOW;
  HAL_GPIO_Init(GPIOC, &GPIO_InitStruct);

  /*Configure GPIO pin : PC3 */
  GPIO_InitStruct.Pin = GPIO_PIN_3;
  GPIO_InitStruct.Mode = GPIO_MODE_AF_PP;
  GPIO_InitStruct.Pull = GPIO_NOPULL;
  GPIO_InitStruct.Speed = GPIO_SPEED_FREQ_LOW;
  GPIO_InitStruct.Alternate = GPIO_AF5_SPI2;
  HAL_GPIO_Init(GPIOC, &GPIO_InitStruct);

  /*Configure GPIO pin : PA0 */
  GPIO_InitStruct.Pin = GPIO_PIN_0;
  GPIO_InitStruct.Mode = GPIO_MODE_IT_RISING;
  GPIO_InitStruct.Pull = GPIO_NOPULL;
  HAL_GPIO_Init(GPIOA, &GPIO_InitStruct);

  /*Configure GPIO pin : PA4 */
  GPIO_InitStruct.Pin = GPIO_PIN_4;
  GPIO_InitStruct.Mode = GPIO_MODE_OUTPUT_PP;
  GPIO_InitStruct.Pull = GPIO_NOPULL;
  GPIO_InitStruct.Speed = GPIO_SPEED_FREQ_HIGH;
  HAL_GPIO_Init(GPIOA, &GPIO_InitStruct);

  /*Configure GPIO pin : PB2 */
  GPIO_InitStruct.Pin = GPIO_PIN_2;
  GPIO_InitStruct.Mode = GPIO_MODE_INPUT;
  GPIO_InitStruct.Pull = GPIO_NOPULL;
  HAL_GPIO_Init(GPIOB, &GPIO_InitStruct);

  /*Configure GPIO pins : PE10 PE11 PE12 */
  GPIO_InitStruct.Pin = GPIO_PIN_10|GPIO_PIN_11|GPIO_PIN_12;
  GPIO_InitStruct.Mode = GPIO_MODE_INPUT;
  GPIO_InitStruct.Pull = GPIO_PULLUP;
  HAL_GPIO_Init(GPIOE, &GPIO_InitStruct);

  /*Configure GPIO pin : PB10 */
  GPIO_InitStruct.Pin = GPIO_PIN_10;
  GPIO_InitStruct.Mode = GPIO_MODE_AF_PP;
  GPIO_InitStruct.Pull = GPIO_NOPULL;
  GPIO_InitStruct.Speed = GPIO_SPEED_FREQ_LOW;
  GPIO_InitStruct.Alternate = GPIO_AF5_SPI2;
  HAL_GPIO_Init(GPIOB, &GPIO_InitStruct);

  /*Configure GPIO pins : PC7 PC10 */
  GPIO_InitStruct.Pin = GPIO_PIN_7|GPIO_PIN_10;
  GPIO_InitStruct.Mode = GPIO_MODE_AF_PP;
  GPIO_InitStruct.Pull = GPIO_NOPULL;
  GPIO_InitStruct.Speed = GPIO_SPEED_FREQ_LOW;
  GPIO_InitStruct.Alternate = GPIO_AF6_SPI3;
  HAL_GPIO_Init(GPIOC, &GPIO_InitStruct);

  /*Configure GPIO pins : PC8 PC9 */
  GPIO_InitStruct.Pin = GPIO_PIN_8|GPIO_PIN_9;
  GPIO_InitStruct.Mode = GPIO_MODE_OUTPUT_PP;
  GPIO_InitStruct.Pull = GPIO_NOPULL;
  GPIO_InitStruct.Speed = GPIO_SPEED_FREQ_VERY_HIGH;
  HAL_GPIO_Init(GPIOC, &GPIO_InitStruct);

  /*Configure GPIO pin : PA9 */
  GPIO_InitStruct.Pin = GPIO_PIN_9;
  GPIO_InitStruct.Mode = GPIO_MODE_INPUT;
  GPIO_InitStruct.Pull = GPIO_NOPULL;
  HAL_GPIO_Init(GPIOA, &GPIO_InitStruct);

  /*Configure GPIO pins : PA10 PA11 PA12 */
  GPIO_InitStruct.Pin = GPIO_PIN_10|GPIO_PIN_11|GPIO_PIN_12;
  GPIO_InitStruct.Mode = GPIO_MODE_AF_PP;
  GPIO_InitStruct.Pull = GPIO_NOPULL;
  GPIO_InitStruct.Speed = GPIO_SPEED_FREQ_VERY_HIGH;
  GPIO_InitStruct.Alternate = GPIO_AF10_OTG_FS;
  HAL_GPIO_Init(GPIOA, &GPIO_InitStruct);

  /*Configure GPIO pin : PD4 */
  GPIO_InitStruct.Pin = GPIO_PIN_4;
  GPIO_InitStruct.Mode = GPIO_MODE_OUTPUT_PP;
  GPIO_InitStruct.Pull = GPIO_NOPULL;
  GPIO_InitStruct.Speed = GPIO_SPEED_FREQ_LOW;
  HAL_GPIO_Init(GPIOD, &GPIO_InitStruct);

  /*Configure GPIO pin : PD5 */
  GPIO_InitStruct.Pin = GPIO_PIN_5;
  GPIO_InitStruct.Mode = GPIO_MODE_INPUT;
  GPIO_InitStruct.Pull = GPIO_NOPULL;
  HAL_GPIO_Init(GPIOD, &GPIO_InitStruct);

  /*Configure GPIO pin : PE1 */
  GPIO_InitStruct.Pin = GPIO_PIN_1;
  GPIO_InitStruct.Mode = GPIO_MODE_IT_RISING;
  GPIO_InitStruct.Pull = GPIO_NOPULL;
  HAL_GPIO_Init(GPIOE, &GPIO_InitStruct);

}

/* USER CODE BEGIN 4 */
void LED_On(uint8_t led){
	switch(led){
		case LED_GREEN: 	HAL_GPIO_WritePin(GPIOD, GPIO_PIN_12, GPIO_PIN_SET);
					break;
		case LED_RED:		HAL_GPIO_WritePin(GPIOD, GPIO_PIN_14, GPIO_PIN_SET);
					break;
		case LED_BLUE:		HAL_GPIO_WritePin(GPIOD, GPIO_PIN_15, GPIO_PIN_SET);
					break;
		case LED_ORANGE:	HAL_GPIO_WritePin(GPIOD, GPIO_PIN_13, GPIO_PIN_SET);
					break;
	}
}

void LED_Off(uint8_t led){
	switch(led){
		case LED_GREEN:		HAL_GPIO_WritePin(GPIOD, GPIO_PIN_12, GPIO_PIN_RESET);
					break;
		case LED_RED:		HAL_GPIO_WritePin(GPIOD, GPIO_PIN_14, GPIO_PIN_RESET);
					break;
		case LED_BLUE:		HAL_GPIO_WritePin(GPIOD, GPIO_PIN_15, GPIO_PIN_RESET);
					break;
		case LED_ORANGE:	HAL_GPIO_WritePin(GPIOD, GPIO_PIN_13, GPIO_PIN_RESET);
					break;
	}
}

void LED_Toggle(uint8_t led){
	switch(led){
		case LED_GREEN:		HAL_GPIO_TogglePin(GPIOD, GPIO_PIN_12);
					break;
		case LED_RED:		HAL_GPIO_TogglePin(GPIOD, GPIO_PIN_14);
					break;
		case LED_BLUE:		HAL_GPIO_TogglePin(GPIOD, GPIO_PIN_15);
					break;
		case LED_ORANGE:	HAL_GPIO_TogglePin(GPIOD, GPIO_PIN_13);
					break;
	}
}

void HAL_TIM_PeriodElapsedCallback(TIM_HandleTypeDef *htim){
	count++;
	if(count > 1000000){
		count = 0;
	}
}

/* USER CODE END 4 */

void Error_Handler(void)
{
  /* USER CODE BEGIN Error_Handler_Debug */
  /* User can add his own implementation to report the HAL error return state */
	LED_Off(LED_GREEN);
	LED_Off(LED_BLUE);
	LED_Off(LED_ORANGE);
	LED_On(LED_RED);
//  BSP_LED_On(LED5);
  while(1)
  {
  }
  /* USER CODE END Error_Handler_Debug */
}

/************************ (C) COPYRIGHT STMicroelectronics *****END OF FILE****/
